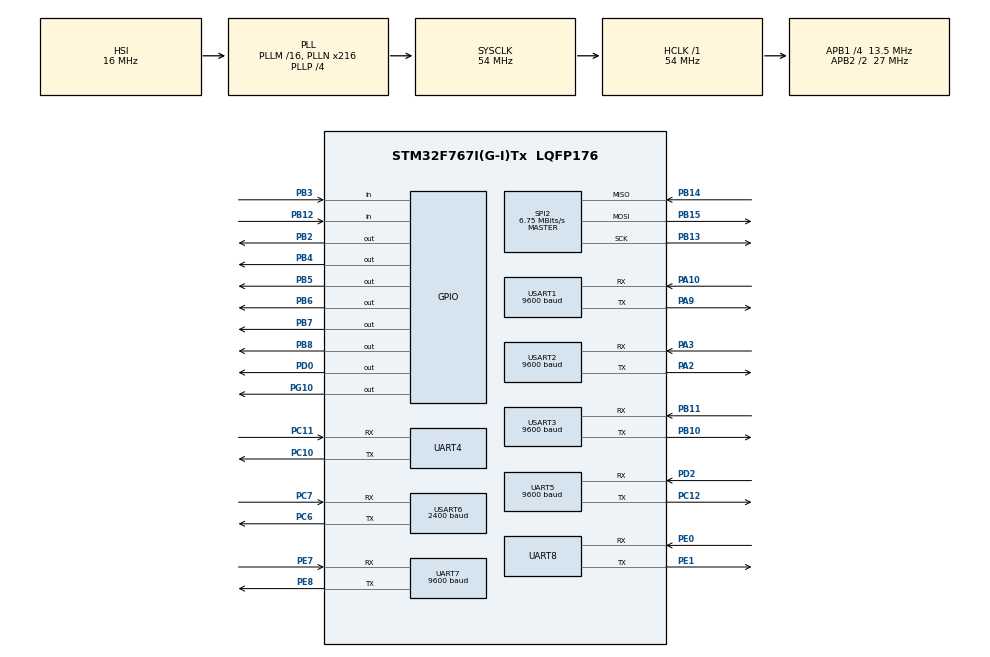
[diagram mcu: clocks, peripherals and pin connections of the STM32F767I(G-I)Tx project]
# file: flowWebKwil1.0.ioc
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Mcu.Family=STM32F7
Mcu.Name=STM32F767I(G-I)Tx
Mcu.Package=LQFP176
NVIC.PriorityGroup=NVIC_PRIORITYGROUP_4
NVIC.UART4_IRQn=true\:2\:0\:true\:true\:true\:1\:true
NVIC.UART5_IRQn=true\:4\:0\:true\:true\:true\:3\:true
NVIC.UART7_IRQn=true\:6\:0\:true\:true\:true\:4\:true
NVIC.UART8_IRQn=true\:7\:0\:true\:true\:true\:7\:true
NVIC.USART1_IRQn=true\:1\:0\:true\:true\:true\:5\:true
NVIC.USART3_IRQn=true\:3\:0\:true\:true\:true\:2\:true
NVIC.USART6_IRQn=true\:5\:0\:true\:true\:true\:6\:true
PA10.Mode=Asynchronous
PA10.Signal=USART1_RX
PA13.Mode=Serial_Wire
PA13.Signal=SYS_JTMS-SWDIO
PA14.Mode=Serial_Wire
PA14.Signal=SYS_JTCK-SWCLK
PA2.Mode=Asynchronous
PA2.Signal=USART2_TX
PA3.Mode=Asynchronous
PA3.Signal=USART2_RX
PA9.Mode=Asynchronous
PA9.Signal=USART1_TX
PB10.Mode=Asynchronous
PB10.Signal=USART3_TX
PB11.Mode=Asynchronous
PB11.Signal=USART3_RX
PB12.Signal=GPIO_Input
PB13.Mode=Full_Duplex_Master
PB13.Signal=SPI2_SCK
PB14.Mode=Full_Duplex_Master
PB14.Signal=SPI2_MISO
PB15.Mode=Full_Duplex_Master
PB15.Signal=SPI2_MOSI
PB2.Signal=GPIO_Output
PB3.Signal=GPIO_Input
PB4.Signal=GPIO_Output
PB5.Signal=GPIO_Output
PB6.Signal=GPIO_Output
PB7.Signal=GPIO_Output
PB8.Signal=GPIO_Output
PC10.Mode=Asynchronous
PC10.Signal=UART4_TX
PC11.Mode=Asynchronous
PC11.Signal=UART4_RX
PC12.Mode=Asynchronous
PC12.Signal=UART5_TX
PC14/OSC32_IN.Mode=LSE-External-Oscillator
PC14/OSC32_IN.Signal=RCC_OSC32_IN
PC15/OSC32_OUT.Mode=LSE-External-Oscillator
PC15/OSC32_OUT.Signal=RCC_OSC32_OUT
PC6.Mode=Asynchronous
PC6.Signal=USART6_TX
PC7.Mode=Asynchronous
PC7.Signal=USART6_RX
PD0.Signal=GPIO_Output
PD2.Mode=Asynchronous
PD2.Signal=UART5_RX
PE0.Mode=Asynchronous
PE0.Signal=UART8_RX
PE1.Mode=Asynchronous
PE1.Signal=UART8_TX
PE7.Mode=Asynchronous
PE7.Signal=UART7_RX
PE8.Mode=Asynchronous
PE8.Signal=UART7_TX
PG10.Signal=GPIO_Output
PH0/OSC_IN.Mode=HSE-External-Oscillator
PH0/OSC_IN.Signal=RCC_OSC_IN
PH1/OSC_OUT.Mode=HSE-External-Oscillator
PH1/OSC_OUT.Signal=RCC_OSC_OUT
ProjectManager.HeapSize=0x1000
ProjectManager.StackSize=0x1500
ProjectManager.TargetToolchain=MDK-ARM V5
RCC.AHBFreq_Value=54000000
RCC.APB1CLKDivider=RCC_HCLK_DIV4
RCC.APB1Freq_Value=13500000
RCC.APB1TimFreq_Value=27000000
RCC.APB2CLKDivider=RCC_HCLK_DIV2
RCC.APB2Freq_Value=27000000
RCC.APB2TimFreq_Value=54000000
RCC.CortexFreq_Value=54000000
RCC.HCLKFreq_Value=54000000
RCC.HSE_VALUE=25000000
RCC.HSI_VALUE=16000000
RCC.PLLN=216
RCC.PLLP=RCC_PLLP_DIV4
RCC.SYSCLKFreq_VALUE=54000000
RCC.SYSCLKSource=RCC_SYSCLKSOURCE_PLLCLK
RCC.USBFreq_Value=108000000
RCC.VCOOutputFreq_Value=216000000
SPI2.BaudRatePrescaler=SPI_BAUDRATEPRESCALER_2
SPI2.CalculateBaudRate=6.75 MBits/s
SPI2.Direction=SPI_DIRECTION_2LINES
SPI2.Mode=SPI_MODE_MASTER
SPI2.VirtualType=VM_MASTER
UART4.WordLength=WORDLENGTH_8B
UART5.BaudRate=9600
UART5.WordLength=WORDLENGTH_8B
UART7.BaudRate=9600
UART7.WordLength=WORDLENGTH_8B
USART1.BaudRate=9600
USART1.DMADisableonRxErrorParam=ADVFEATURE_DMA_ENABLEONRXERROR
USART1.OverrunDisableParam=ADVFEATURE_OVERRUN_ENABLE
USART1.VirtualMode-Asynchronous=VM_ASYNC
USART1.WordLength=WORDLENGTH_8B
USART2.BaudRate=9600
USART2.DMADisableonRxErrorParam=ADVFEATURE_DMA_DISABLEONRXERROR
USART2.OneBitSampling=UART_ONE_BIT_SAMPLE_ENABLE
USART2.OverrunDisableParam=ADVFEATURE_OVERRUN_DISABLE
USART2.VirtualMode-Asynchronous=VM_ASYNC
USART2.WordLength=WORDLENGTH_8B
USART3.BaudRate=9600
USART3.Parity=PARITY_NONE
USART3.VirtualMode-Asynchronous=VM_ASYNC
USART3.WordLength=WORDLENGTH_8B
USART6.BaudRate=2400
USART6.Parity=PARITY_EVEN
USART6.VirtualMode-Asynchronous=VM_ASYNC
USART6.WordLength=WORDLENGTH_9B
board=flowWebKwil1.0

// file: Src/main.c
/**
  ******************************************************************************
  * File Name          : main.c
  * Description        : Main program body
  ******************************************************************************
  ** This notice applies to any and all portions of this file
  * that are not between comment pairs USER CODE BEGIN and
  * USER CODE END. Other portions of this file, whether
  * inserted by the user or by software development tools
  * are owned by their respective copyright owners.
  *
  * COPYRIGHT(c) 2018 STMicroelectronics
  *
  * Redistribution and use in source and binary forms, with or without modification,
  * are permitted provided that the following conditions are met:
  *   1. Redistributions of source code must retain the above copyright notice,
  *      this list of conditions and the following disclaimer.
  *   2. Redistributions in binary form must reproduce the above copyright notice,
  *      this list of conditions and the following disclaimer in the documentation
  *      and/or other materials provided with the distribution.
  *   3. Neither the name of STMicroelectronics nor the names of its contributors
  *      may be used to endorse or promote products derived from this software
  *      without specific prior written permission.
  *
  * THIS SOFTWARE IS PROVIDED BY THE COPYRIGHT HOLDERS AND CONTRIBUTORS "AS IS"
  * AND ANY EXPRESS OR IMPLIED WARRANTIES, INCLUDING, BUT NOT LIMITED TO, THE
  * IMPLIED WARRANTIES OF MERCHANTABILITY AND FITNESS FOR A PARTICULAR PURPOSE ARE
  * DISCLAIMED. IN NO EVENT SHALL THE COPYRIGHT HOLDER OR CONTRIBUTORS BE LIABLE
  * FOR ANY DIRECT, INDIRECT, INCIDENTAL, SPECIAL, EXEMPLARY, OR CONSEQUENTIAL
  * DAMAGES (INCLUDING, BUT NOT LIMITED TO, PROCUREMENT OF SUBSTITUTE GOODS OR
  * SERVICES; LOSS OF USE, DATA, OR PROFITS; OR BUSINESS INTERRUPTION) HOWEVER
  * CAUSED AND ON ANY THEORY OF LIABILITY, WHETHER IN CONTRACT, STRICT LIABILITY,
  * OR TORT (INCLUDING NEGLIGENCE OR OTHERWISE) ARISING IN ANY WAY OUT OF THE USE
  * OF THIS SOFTWARE, EVEN IF ADVISED OF THE POSSIBILITY OF SUCH DAMAGE.
  *
  ******************************************************************************
  */

#include "main.h"
#include "stm32f7xx_hal.h"

/* USER CODE BEGIN Includes */
#include "stm32f7xx_hal_gpio.h"
#include "IOControl.h"
#include "RS485.h"
#include "tcpServer.h"
#include "elecWeight.h"
#include "ultrasonic.h"
#include "test.h"
#include "cJSON.h"
#include "string.h"
/* USER CODE END Includes */

SPI_HandleTypeDef hspi2;

UART_HandleTypeDef huart4;
UART_HandleTypeDef huart5;
UART_HandleTypeDef huart7;
UART_HandleTypeDef huart8;
UART_HandleTypeDef huart1;
UART_HandleTypeDef huart2;
UART_HandleTypeDef huart3;
UART_HandleTypeDef huart6;

/* USER CODE BEGIN PV */
/* Private variables ---------------------------------------------------------*/

/* USER CODE END PV */

void SystemClock_Config(void);
static void MX_GPIO_Init(void);
static void MX_SPI2_Init(void);
static void MX_UART4_Init(void);
static void MX_UART5_Init(void);
static void MX_USART1_UART_Init(void);
static void MX_USART2_UART_Init(void);
static void MX_USART3_UART_Init(void);
static void MX_UART7_Init(void);
static void MX_USART6_UART_Init(void);
static void MX_UART8_Init(void);
static void MX_NVIC_Init(void);

/* USER CODE BEGIN PFP */
/* Private function prototypes -----------------------------------------------*/

/* USER CODE END PFP */

/* USER CODE BEGIN 0 */

UART_HandleTypeDef huart4;

#define WIFIRESET(X) HAL_GPIO_WritePin(GPIOD,GPIO_PIN_0,(GPIO_PinState)X)
#define WIFIUART huart4

void WIFI_UARTSend(char* data, uint16_t len)
{
        HAL_UART_Transmit(&WIFIUART,(uint8_t*)data, len,100);
}

void WIFI_UARTSendString(char* stringD)
{
        uint16_t counter = 0;
        while(1)
        {
                if(*(stringD + counter) == '\0' || counter >= 100) break;
                counter++;
        }

        WIFI_UARTSend(stringD, counter);
}

void WIFI_ResetWIFI()
{
        WIFIRESET(0);
        HAL_Delay(100);
        WIFIRESET(1);
}

void WIFI_setParameter(char* SSID, char* PassWord,char* ServerAddress)
{
        char CR = 0x0d;

        WIFI_UARTSendString("+++");
        HAL_Delay(500);
        WIFI_UARTSendString("a");
        HAL_Delay(500);

        WIFI_UARTSendString("AT+WMODE=STA");
        WIFI_UARTSend(&CR,1);
        HAL_Delay(500);

        WIFI_UARTSendString("AT+WSTA=");
        WIFI_UARTSendString(SSID);
        WIFI_UARTSendString(",");
        WIFI_UARTSendString(PassWord);
        WIFI_UARTSend(&CR,1);
        HAL_Delay(500);

        WIFI_UARTSendString("AT+SOCKA=TCPC,");
        WIFI_UARTSendString(ServerAddress);
        WIFI_UARTSendString(",8899");
        WIFI_UARTSend(&CR,1);
        HAL_Delay(500);

        WIFI_UARTSendString("AT+Z");
        WIFI_UARTSend(&CR,1);
        HAL_Delay(500);
}

/* USER CODE END 0 */

int main(void)
{

  /* USER CODE BEGIN 1 */

  uint8_t aRxBuffer[20];
  /* USER CODE END 1 */

  /* MCU Configuration----------------------------------------------------------*/

  /* Reset of all peripherals, Initializes the Flash interface and the Systick. */
  HAL_Init();

  /* Configure the system clock */
  SystemClock_Config();

  /* USER CODE BEGIN SysInit */

	 HAL_Delay(1000);
  /* USER CODE END SysInit */

  /* Initialize all configured peripherals */
  MX_GPIO_Init();
  MX_SPI2_Init();
  MX_UART4_Init();
  MX_UART5_Init();
  MX_USART1_UART_Init();
  MX_USART2_UART_Init();
  MX_USART3_UART_Init();
  MX_UART7_Init();
  MX_USART6_UART_Init();
  MX_UART8_Init();

  /* Initialize interrupts */
  MX_NVIC_Init();

  /* USER CODE BEGIN 2 */

HAL_GPIO_WritePin(GPIOD,GPIO_PIN_0,GPIO_PIN_SET);

HAL_Delay(500);

//uint8_t weightRxBuffer[20];
uint8_t testBufer1[20];

//HAL_UART_Transmit_IT(&huart7,&sendData7,sizeof(sendData7));

// HAL_UART_Receive_IT(&huart2,aRxBuffer,20);
//uint8_t bRxBuffer[20] = {'R'};

//HAL_Delay(500);
//WIFI_setParameter("123", "12345678","192.168.1.122");

open1Receive();
//open2Receive();
open7Receive();
open5Receive();
open3Receive();
open6Receive();

UART_Send_start();
UART_Change_Page();

// open wifi receive IT
wifiStartListening();

char sendData9[] = {'s','e','n','d'};
//char sendData9[] = {0x55,0x55,0x55,0x55};
uint8_t recievecahr;
char cmd[] = {'R'};
uint8_t buf[] = {"add 13,0,30"};
uint8_t testSend = 0x55;

/*
    cJSON * rootCJSON =  cJSON_CreateObject();
    cJSON_AddItemToObject(rootCJSON, "type", cJSON_CreateString("data"));
    cJSON_AddItemToObject(rootCJSON, "ID", cJSON_CreateNumber(0.465471));
    cJSON_AddItemToObject(rootCJSON, "W1", cJSON_CreateNumber(20));
    cJSON_AddItemToObject(rootCJSON, "T1", cJSON_CreateNumber(20.567));
    cJSON_AddItemToObject(rootCJSON, "U1", cJSON_CreateNumber(10.2436));
    cJSON_AddItemToObject(rootCJSON, "D1", cJSON_CreateNumber(20));
    cJSON_AddItemToObject(rootCJSON, "F1", cJSON_CreateNumber(5));
    cJSON_AddItemToObject(rootCJSON, "F2", cJSON_CreateNumber(4));
	cJSON_AddItemToObject(rootCJSON, "W2", cJSON_CreateNumber(20));
    cJSON_AddItemToObject(rootCJSON, "T3", cJSON_CreateNumber(20.567));
    cJSON_AddItemToObject(rootCJSON, "U2", cJSON_CreateNumber(10.2436));
    cJSON_AddItemToObject(rootCJSON, "D2", cJSON_CreateNumber(20));
    cJSON_AddItemToObject(rootCJSON, "F2", cJSON_CreateNumber(5));
    cJSON_AddItemToObject(rootCJSON, "F2", cJSON_CreateNumber(4));

	char * cJsonTest = cJSON_Print(rootCJSON);
*/
	//cJSON_Delete(rootCJSON);

	unsigned char tcmd[] = {0x68, 0x20, 0xaa, 0xaa, 0xaa, 0xaa, 0xaa, 0xaa, 0xaa, 0x01, 0x03, 0x1f, 0x90, 0x23, 0x04, 0x16};

	GPIO_PinState keystate;
  /* USER CODE END 2 */

  /* Infinite loop */
  /* USER CODE BEGIN WHILE */

  while (1)
  {

 //HAL_Delay(1500);
 //WIFI_setParameter("123", "12345678","192.168.1.122");

  //HAL_UART_Receive(&huart7,aRxBuffer,sizeof(aRxBuffer),100);

	 // HAL_UART_Transmit(&WIFIUART,(uint8_t*)buf,sizeof(buf),100);
	 // HAL_Delay(1500);
    // dataCurve();

	 GetWeightValue();

	 ultraData();

	 loopHeatMeter();

	 loopVortex();

	 loopWeight();

	 sendInstrumentData();

	 dataCurve();

	 wifiDataReceived();

	  /*
	  uint8_t counter;
	  for(counter = 0; counter < 4; counter ++)
      {
      HAL_UART_Transmit(&huart3,(uint8_t *)&sendData9[counter],1,100);
      }*/
	  //HAL_UART_Transmit(&huart3,(uint8_t *)tcmd,sizeof(tcmd),0xffff);

  /* USER CODE END WHILE */

  }

}

/** System Clock Configuration
*/
void SystemClock_Config(void)
{

  RCC_OscInitTypeDef RCC_OscInitStruct;
  RCC_ClkInitTypeDef RCC_ClkInitStruct;
  RCC_PeriphCLKInitTypeDef PeriphClkInitStruct;

    /**Configure the main internal regulator output voltage
    */
  __HAL_RCC_PWR_CLK_ENABLE();

  __HAL_PWR_VOLTAGESCALING_CONFIG(PWR_REGULATOR_VOLTAGE_SCALE3);

    /**Initializes the CPU, AHB and APB busses clocks
    */
  RCC_OscInitStruct.OscillatorType = RCC_OSCILLATORTYPE_HSI;
  RCC_OscInitStruct.HSIState = RCC_HSI_ON;
  RCC_OscInitStruct.HSICalibrationValue = 16;
  RCC_OscInitStruct.PLL.PLLState = RCC_PLL_ON;
  RCC_OscInitStruct.PLL.PLLSource = RCC_PLLSOURCE_HSI;
  RCC_OscInitStruct.PLL.PLLM = 16;
  RCC_OscInitStruct.PLL.PLLN = 216;
  RCC_OscInitStruct.PLL.PLLP = RCC_PLLP_DIV4;
  RCC_OscInitStruct.PLL.PLLQ = 2;
  if (HAL_RCC_OscConfig(&RCC_OscInitStruct) != HAL_OK)
  {
    _Error_Handler(__FILE__, __LINE__);
  }

    /**Initializes the CPU, AHB and APB busses clocks
    */
  RCC_ClkInitStruct.ClockType = RCC_CLOCKTYPE_HCLK|RCC_CLOCKTYPE_SYSCLK
                              |RCC_CLOCKTYPE_PCLK1|RCC_CLOCKTYPE_PCLK2;
  RCC_ClkInitStruct.SYSCLKSource = RCC_SYSCLKSOURCE_PLLCLK;
  RCC_ClkInitStruct.AHBCLKDivider = RCC_SYSCLK_DIV1;
  RCC_ClkInitStruct.APB1CLKDivider = RCC_HCLK_DIV4;
  RCC_ClkInitStruct.APB2CLKDivider = RCC_HCLK_DIV2;

  if (HAL_RCC_ClockConfig(&RCC_ClkInitStruct, FLASH_LATENCY_1) != HAL_OK)
  {
    _Error_Handler(__FILE__, __LINE__);
  }

  PeriphClkInitStruct.PeriphClockSelection = RCC_PERIPHCLK_USART1|RCC_PERIPHCLK_USART2
                              |RCC_PERIPHCLK_USART3|RCC_PERIPHCLK_USART6
                              |RCC_PERIPHCLK_UART4|RCC_PERIPHCLK_UART5
                              |RCC_PERIPHCLK_UART7|RCC_PERIPHCLK_UART8;
  PeriphClkInitStruct.Usart1ClockSelection = RCC_USART1CLKSOURCE_PCLK2;
  PeriphClkInitStruct.Usart2ClockSelection = RCC_USART2CLKSOURCE_PCLK1;
  PeriphClkInitStruct.Usart3ClockSelection = RCC_USART3CLKSOURCE_PCLK1;
  PeriphClkInitStruct.Uart4ClockSelection = RCC_UART4CLKSOURCE_PCLK1;
  PeriphClkInitStruct.Uart5ClockSelection = RCC_UART5CLKSOURCE_PCLK1;
  PeriphClkInitStruct.Usart6ClockSelection = RCC_USART6CLKSOURCE_PCLK2;
  PeriphClkInitStruct.Uart7ClockSelection = RCC_UART7CLKSOURCE_PCLK1;
  PeriphClkInitStruct.Uart8ClockSelection = RCC_UART8CLKSOURCE_PCLK1;
  if (HAL_RCCEx_PeriphCLKConfig(&PeriphClkInitStruct) != HAL_OK)
  {
    _Error_Handler(__FILE__, __LINE__);
  }

    /**Configure the Systick interrupt time
    */
  HAL_SYSTICK_Config(HAL_RCC_GetHCLKFreq()/1000);

    /**Configure the Systick
    */
  HAL_SYSTICK_CLKSourceConfig(SYSTICK_CLKSOURCE_HCLK);

  /* SysTick_IRQn interrupt configuration */
  HAL_NVIC_SetPriority(SysTick_IRQn, 0, 0);
}

/** NVIC Configuration
*/
static void MX_NVIC_Init(void)
{
  /* UART4_IRQn interrupt configuration */
  HAL_NVIC_SetPriority(UART4_IRQn, 2, 0);
  HAL_NVIC_EnableIRQ(UART4_IRQn);
  /* USART3_IRQn interrupt configuration */
  HAL_NVIC_SetPriority(USART3_IRQn, 3, 0);
  HAL_NVIC_EnableIRQ(USART3_IRQn);
  /* UART5_IRQn interrupt configuration */
  HAL_NVIC_SetPriority(UART5_IRQn, 4, 0);
  HAL_NVIC_EnableIRQ(UART5_IRQn);
  /* UART7_IRQn interrupt configuration */
  HAL_NVIC_SetPriority(UART7_IRQn, 6, 0);
  HAL_NVIC_EnableIRQ(UART7_IRQn);
  /* USART1_IRQn interrupt configuration */
  HAL_NVIC_SetPriority(USART1_IRQn, 1, 0);
  HAL_NVIC_EnableIRQ(USART1_IRQn);
  /* USART6_IRQn interrupt configuration */
  HAL_NVIC_SetPriority(USART6_IRQn, 5, 0);
  HAL_NVIC_EnableIRQ(USART6_IRQn);
  /* UART8_IRQn interrupt configuration */
  HAL_NVIC_SetPriority(UART8_IRQn, 7, 0);
  HAL_NVIC_EnableIRQ(UART8_IRQn);
}

/* SPI2 init function */
static void MX_SPI2_Init(void)
{

  /* SPI2 parameter configuration*/
  hspi2.Instance = SPI2;
  hspi2.Init.Mode = SPI_MODE_MASTER;
  hspi2.Init.Direction = SPI_DIRECTION_2LINES;
  hspi2.Init.DataSize = SPI_DATASIZE_4BIT;
  hspi2.Init.CLKPolarity = SPI_POLARITY_LOW;
  hspi2.Init.CLKPhase = SPI_PHASE_1EDGE;
  hspi2.Init.NSS = SPI_NSS_SOFT;
  hspi2.Init.BaudRatePrescaler = SPI_BAUDRATEPRESCALER_2;
  hspi2.Init.FirstBit = SPI_FIRSTBIT_MSB;
  hspi2.Init.TIMode = SPI_TIMODE_DISABLE;
  hspi2.Init.CRCCalculation = SPI_CRCCALCULATION_DISABLE;
  hspi2.Init.CRCPolynomial = 7;
  hspi2.Init.CRCLength = SPI_CRC_LENGTH_DATASIZE;
  hspi2.Init.NSSPMode = SPI_NSS_PULSE_ENABLE;
  if (HAL_SPI_Init(&hspi2) != HAL_OK)
  {
    _Error_Handler(__FILE__, __LINE__);
  }

}

/* UART4 init function */
static void MX_UART4_Init(void)
{

  huart4.Instance = UART4;
  huart4.Init.BaudRate = 115200;
  huart4.Init.WordLength = UART_WORDLENGTH_8B;
  huart4.Init.StopBits = UART_STOPBITS_1;
  huart4.Init.Parity = UART_PARITY_NONE;
  huart4.Init.Mode = UART_MODE_TX_RX;
  huart4.Init.HwFlowCtl = UART_HWCONTROL_NONE;
  huart4.Init.OverSampling = UART_OVERSAMPLING_16;
  huart4.Init.OneBitSampling = UART_ONE_BIT_SAMPLE_DISABLE;
  huart4.AdvancedInit.AdvFeatureInit = UART_ADVFEATURE_NO_INIT;
  if (HAL_UART_Init(&huart4) != HAL_OK)
  {
    _Error_Handler(__FILE__, __LINE__);
  }

}

/* UART5 init function */
static void MX_UART5_Init(void)
{

  huart5.Instance = UART5;
  huart5.Init.BaudRate = 9600;
  huart5.Init.WordLength = UART_WORDLENGTH_8B;
  huart5.Init.StopBits = UART_STOPBITS_1;
  huart5.Init.Parity = UART_PARITY_NONE;
  huart5.Init.Mode = UART_MODE_TX_RX;
  huart5.Init.HwFlowCtl = UART_HWCONTROL_NONE;
  huart5.Init.OverSampling = UART_OVERSAMPLING_16;
  huart5.Init.OneBitSampling = UART_ONE_BIT_SAMPLE_DISABLE;
  huart5.AdvancedInit.AdvFeatureInit = UART_ADVFEATURE_NO_INIT;
  if (HAL_UART_Init(&huart5) != HAL_OK)
  {
    _Error_Handler(__FILE__, __LINE__);
  }

}

/* UART7 init function */
static void MX_UART7_Init(void)
{

  huart7.Instance = UART7;
  huart7.Init.BaudRate = 9600;
  huart7.Init.WordLength = UART_WORDLENGTH_8B;
  huart7.Init.StopBits = UART_STOPBITS_1;
  huart7.Init.Parity = UART_PARITY_NONE;
  huart7.Init.Mode = UART_MODE_TX_RX;
  huart7.Init.HwFlowCtl = UART_HWCONTROL_NONE;
  huart7.Init.OverSampling = UART_OVERSAMPLING_16;
  huart7.Init.OneBitSampling = UART_ONE_BIT_SAMPLE_DISABLE;
  huart7.AdvancedInit.AdvFeatureInit = UART_ADVFEATURE_NO_INIT;
  if (HAL_UART_Init(&huart7) != HAL_OK)
  {
    _Error_Handler(__FILE__, __LINE__);
  }

}

/* UART8 init function */
static void MX_UART8_Init(void)
{

  huart8.Instance = UART8;
  huart8.Init.BaudRate = 9600;
  huart8.Init.WordLength = UART_WORDLENGTH_8B;
  huart8.Init.StopBits = UART_STOPBITS_1;
  huart8.Init.Parity = UART_PARITY_NONE;
  huart8.Init.Mode = UART_MODE_TX_RX;
  huart8.Init.HwFlowCtl = UART_HWCONTROL_NONE;
  huart8.Init.OverSampling = UART_OVERSAMPLING_16;
  huart8.Init.OneBitSampling = UART_ONE_BIT_SAMPLE_DISABLE;
  huart8.AdvancedInit.AdvFeatureInit = UART_ADVFEATURE_NO_INIT;
  if (HAL_UART_Init(&huart8) != HAL_OK)
  {
    _Error_Handler(__FILE__, __LINE__);
  }

}

/* USART1 init function */
static void MX_USART1_UART_Init(void)
{

  huart1.Instance = USART1;
  huart1.Init.BaudRate = 9600;
  huart1.Init.WordLength = UART_WORDLENGTH_8B;
  huart1.Init.StopBits = UART_STOPBITS_1;
  huart1.Init.Parity = UART_PARITY_NONE;
  huart1.Init.Mode = UART_MODE_TX_RX;
  huart1.Init.HwFlowCtl = UART_HWCONTROL_NONE;
  huart1.Init.OverSampling = UART_OVERSAMPLING_16;
  huart1.Init.OneBitSampling = UART_ONE_BIT_SAMPLE_DISABLE;
  huart1.AdvancedInit.AdvFeatureInit = UART_ADVFEATURE_NO_INIT;
  if (HAL_UART_Init(&huart1) != HAL_OK)
  {
    _Error_Handler(__FILE__, __LINE__);
  }

}

/* USART2 init function */
static void MX_USART2_UART_Init(void)
{

  huart2.Instance = USART2;
  huart2.Init.BaudRate = 9600;
  huart2.Init.WordLength = UART_WORDLENGTH_8B;
  huart2.Init.StopBits = UART_STOPBITS_1;
  huart2.Init.Parity = UART_PARITY_NONE;
  huart2.Init.Mode = UART_MODE_TX_RX;
  huart2.Init.HwFlowCtl = UART_HWCONTROL_NONE;
  huart2.Init.OverSampling = UART_OVERSAMPLING_16;
  huart2.Init.OneBitSampling = UART_ONE_BIT_SAMPLE_ENABLE;
  huart2.AdvancedInit.AdvFeatureInit = UART_ADVFEATURE_RXOVERRUNDISABLE_INIT|UART_ADVFEATURE_DMADISABLEONERROR_INIT;
  huart2.AdvancedInit.OverrunDisable = UART_ADVFEATURE_OVERRUN_DISABLE;
  huart2.AdvancedInit.DMADisableonRxError = UART_ADVFEATURE_DMA_DISABLEONRXERROR;
  if (HAL_UART_Init(&huart2) != HAL_OK)
  {
    _Error_Handler(__FILE__, __LINE__);
  }

}

/* USART3 init function */
static void MX_USART3_UART_Init(void)
{

  huart3.Instance = USART3;
  huart3.Init.BaudRate = 9600;
  huart3.Init.WordLength = UART_WORDLENGTH_8B;
  huart3.Init.StopBits = UART_STOPBITS_1;
  huart3.Init.Parity = UART_PARITY_NONE;
  huart3.Init.Mode = UART_MODE_TX_RX;
  huart3.Init.HwFlowCtl = UART_HWCONTROL_NONE;
  huart3.Init.OverSampling = UART_OVERSAMPLING_16;
  huart3.Init.OneBitSampling = UART_ONE_BIT_SAMPLE_DISABLE;
  huart3.AdvancedInit.AdvFeatureInit = UART_ADVFEATURE_NO_INIT;
  if (HAL_UART_Init(&huart3) != HAL_OK)
  {
    _Error_Handler(__FILE__, __LINE__);
  }

}

/* USART6 init function */
static void MX_USART6_UART_Init(void)
{

  huart6.Instance = USART6;
  huart6.Init.BaudRate = 2400;
  huart6.Init.WordLength = UART_WORDLENGTH_9B;
  huart6.Init.StopBits = UART_STOPBITS_1;
  huart6.Init.Parity = UART_PARITY_EVEN;
  huart6.Init.Mode = UART_MODE_TX_RX;
  huart6.Init.HwFlowCtl = UART_HWCONTROL_NONE;
  huart6.Init.OverSampling = UART_OVERSAMPLING_16;
  huart6.Init.OneBitSampling = UART_ONE_BIT_SAMPLE_DISABLE;
  huart6.AdvancedInit.AdvFeatureInit = UART_ADVFEATURE_NO_INIT;
  if (HAL_UART_Init(&huart6) != HAL_OK)
  {
    _Error_Handler(__FILE__, __LINE__);
  }

}

/** Configure pins as
        * Analog
        * Input
        * Output
        * EVENT_OUT
        * EXTI
*/
static void MX_GPIO_Init(void)
{

  GPIO_InitTypeDef GPIO_InitStruct;

  /* GPIO Ports Clock Enable */
  __HAL_RCC_GPIOC_CLK_ENABLE();
  __HAL_RCC_GPIOH_CLK_ENABLE();
  __HAL_RCC_GPIOA_CLK_ENABLE();
  __HAL_RCC_GPIOB_CLK_ENABLE();
  __HAL_RCC_GPIOE_CLK_ENABLE();
  __HAL_RCC_GPIOD_CLK_ENABLE();
  __HAL_RCC_GPIOG_CLK_ENABLE();

  /*Configure GPIO pin Output Level */
  HAL_GPIO_WritePin(GPIOB, GPIO_PIN_2|GPIO_PIN_4|GPIO_PIN_5|GPIO_PIN_6
                          |GPIO_PIN_7|GPIO_PIN_8, GPIO_PIN_RESET);

  /*Configure GPIO pin Output Level */
  HAL_GPIO_WritePin(GPIOD, GPIO_PIN_0, GPIO_PIN_RESET);

  /*Configure GPIO pin Output Level */
  HAL_GPIO_WritePin(GPIOG, GPIO_PIN_10, GPIO_PIN_RESET);

  /*Configure GPIO pins : PB2 PB4 PB5 PB6
                           PB7 PB8 */
  GPIO_InitStruct.Pin = GPIO_PIN_2|GPIO_PIN_4|GPIO_PIN_5|GPIO_PIN_6
                          |GPIO_PIN_7|GPIO_PIN_8;
  GPIO_InitStruct.Mode = GPIO_MODE_OUTPUT_PP;
  GPIO_InitStruct.Pull = GPIO_NOPULL;
  GPIO_InitStruct.Speed = GPIO_SPEED_FREQ_LOW;
  HAL_GPIO_Init(GPIOB, &GPIO_InitStruct);

  /*Configure GPIO pins : PB12 PB3 */
  GPIO_InitStruct.Pin = GPIO_PIN_12|GPIO_PIN_3;
  GPIO_InitStruct.Mode = GPIO_MODE_INPUT;
  GPIO_InitStruct.Pull = GPIO_NOPULL;
  HAL_GPIO_Init(GPIOB, &GPIO_InitStruct);

  /*Configure GPIO pin : PD0 */
  GPIO_InitStruct.Pin = GPIO_PIN_0;
  GPIO_InitStruct.Mode = GPIO_MODE_OUTPUT_PP;
  GPIO_InitStruct.Pull = GPIO_NOPULL;
  GPIO_InitStruct.Speed = GPIO_SPEED_FREQ_LOW;
  HAL_GPIO_Init(GPIOD, &GPIO_InitStruct);

  /*Configure GPIO pin : PG10 */
  GPIO_InitStruct.Pin = GPIO_PIN_10;
  GPIO_InitStruct.Mode = GPIO_MODE_OUTPUT_PP;
  GPIO_InitStruct.Pull = GPIO_NOPULL;
  GPIO_InitStruct.Speed = GPIO_SPEED_FREQ_LOW;
  HAL_GPIO_Init(GPIOG, &GPIO_InitStruct);

}

/* USER CODE BEGIN 4 */

void HAL_UART_RxCpltCallback(UART_HandleTypeDef *huart)
{
	UNUSED(huart);
	handleRxCpltCallback(huart);
}

void HAL_UART_ErrorCallback(UART_HandleTypeDef *huart)
{
	UNUSED(huart);
	handleErrorCallback(huart);
}

/* USER CODE END 4 */

void _Error_Handler(char * file, int line)
{
  while(1)
  {
  }
}

/************************ (C) COPYRIGHT STMicroelectronics *****END OF FILE****/
